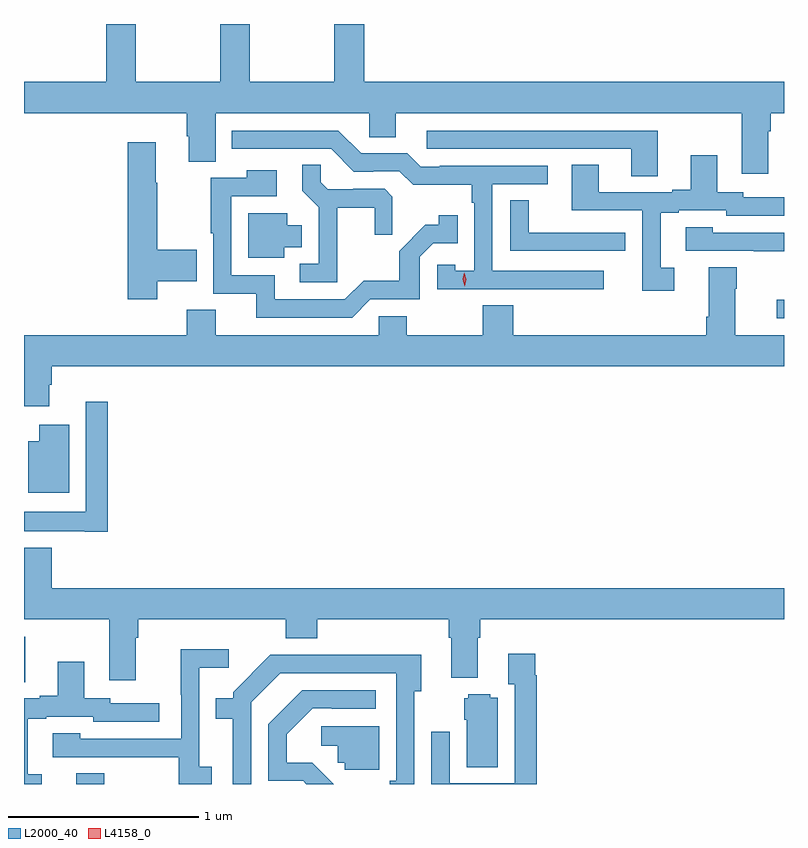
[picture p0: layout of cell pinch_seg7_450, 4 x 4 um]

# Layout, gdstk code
import gdstk
lib = gdstk.Library(unit=1e-6, precision=1e-09)
def R(c, l, rs):  # rectangles x0, y0, x1, y1
    for r in rs: c.add(gdstk.rectangle(r[:2], r[2:], *l))
def P(c, l, *ps):  # polygons
    for p in ps: c.add(gdstk.Polygon(p, *l))
L2000_40 = (2000, 40)
L4158_0 = (4158, 0)

pinch_seg7_450 = lib.new_cell('pinch_seg7_450')
R(pinch_seg7_450, L2000_40, [(301.163,1054.361,301.311,1054.417), (300.889,1054.897,300.895,1055.136), (304.851,1056.813,304.889,1056.909)])
P(pinch_seg7_450, L2000_40, [(304.807,1057.796),(304.82,1057.796),(304.82,1057.892),(304.889,1057.892),(304.889,1058.056),(302.681,1058.056),(302.681,1058.361),(302.521,1058.361),(302.521,1058.056),(302.076,1058.056),(302.076,1058.361),(301.921,1058.361),(301.921,1058.056),(301.476,1058.056),(301.476,1058.361),(301.321,1058.361),(301.321,1058.056),(300.889,1058.056),(300.889,1057.892),(301.745,1057.892),(301.745,1057.77),(301.757,1057.77),(301.757,1057.636),(301.897,1057.636),(301.897,1057.892),(302.706,1057.892),(302.706,1057.765),(302.845,1057.765),(302.845,1057.892),(304.667,1057.892),(304.667,1057.572),(304.807,1057.572)],
  [(303.94,1057.062),(303.354,1057.062),(303.354,1057.518),(303.646,1057.518),(303.646,1057.614),(303.076,1057.614),(303.076,1057.611),(302.976,1057.611),(302.907,1057.68),(302.664,1057.68),(302.544,1057.8),(301.982,1057.8),(301.982,1057.704),(302.505,1057.704),(302.625,1057.584),(302.726,1057.584),(302.726,1057.587),(302.865,1057.587),(302.938,1057.514),(303.246,1057.514),(303.246,1057.421),(303.258,1057.421),(303.258,1057.063),(303.159,1057.063),(303.159,1057.095),(303.063,1057.095),(303.063,1056.966),(303.547,1056.966),(303.547,1056.964),(303.94,1056.964)],
  [(304.225,1057.8),(303.009,1057.8),(303.009,1057.704),(304.085,1057.704),(304.085,1057.561),(304.225,1057.561)],
  [(301.59,1057.007),(301.799,1057.007),(301.799,1057.173),(301.59,1057.173),(301.59,1057.525),(301.582,1057.525),(301.582,1057.738),(301.436,1057.738),(301.436,1056.912),(301.59,1056.912)],
  [(304.312,1057.077),(304.24,1057.077),(304.24,1057.368),(304.336,1057.368),(304.336,1057.38),(304.584,1057.38),(304.584,1057.353),(304.889,1057.353),(304.889,1057.449),(304.674,1057.449),(304.674,1057.476),(304.537,1057.476),(304.537,1057.669),(304.397,1057.669),(304.397,1057.489),(304.301,1057.489),(304.301,1057.476),(303.913,1057.476),(303.913,1057.619),(303.773,1057.619),(303.773,1057.38),(304.143,1057.38),(304.143,1056.957),(304.312,1056.957)],
  [(302.537,1057.394),(302.734,1057.394),(302.734,1057.251),(302.828,1057.251),(302.828,1057.453),(302.787,1057.494),(302.622,1057.494),(302.622,1057.491),(302.488,1057.491),(302.451,1057.528),(302.451,1057.619),(302.353,1057.619),(302.353,1057.483),(302.439,1057.397),(302.439,1057.098),(302.34,1057.098),(302.34,1057.002),(302.537,1057.002)],
  [(302.712,1056.912),(302.973,1056.912),(302.973,1057.137),(303.042,1057.206),(303.173,1057.206),(303.173,1057.354),(303.072,1057.354),(303.072,1057.304),(303.002,1057.304),(302.865,1057.166),(302.865,1057.011),(302.676,1057.011),(302.577,1056.912),(302.209,1056.912),(302.209,1057.038),(301.98,1057.038),(301.98,1057.455),(302.218,1057.455),(302.218,1057.591),(302.062,1057.591),(302.062,1057.551),(301.872,1057.551),(301.872,1057.261),(301.884,1057.261),(301.884,1056.942),(302.111,1056.942),(302.111,1056.816),(302.616,1056.816)],
  [(304.054,1057.262),(303.941,1057.262),(303.941,1057.263),(303.546,1057.263),(303.546,1057.433),(303.447,1057.433),(303.447,1057.167),(304.054,1057.167)],
  [(302.26,1057.187),(302.35,1057.187),(302.35,1057.303),(302.275,1057.303),(302.275,1057.366),(302.069,1057.366),(302.069,1057.13),(302.26,1057.13)],
  [(304.889,1057.263),(304.515,1057.263),(304.515,1057.291),(304.371,1057.291),(304.371,1057.167),(304.729,1057.167),(304.729,1057.165),(304.889,1057.165)],
  [(301.021,1056.462),(301.034,1056.462),(301.034,1056.56),(304.889,1056.56),(304.889,1056.724),(304.633,1056.724),(304.633,1056.968),(304.641,1056.968),(304.641,1057.081),(304.493,1057.081),(304.493,1056.82),(304.481,1056.82),(304.481,1056.724),(303.464,1056.724),(303.464,1056.881),(303.304,1056.881),(303.304,1056.724),(302.904,1056.724),(302.904,1056.822),(302.757,1056.822),(302.757,1056.724),(301.897,1056.724),(301.897,1056.857),(301.745,1056.857),(301.745,1056.724),(300.889,1056.724),(300.889,1056.348),(301.021,1056.348)],
  [(301.331,1056.373),(301.215,1056.373),(301.215,1055.794),(300.889,1055.794),(300.889,1055.69),(301.208,1055.69),(301.208,1055.688),(301.331,1055.688)],
  [(301.126,1056.253),(300.968,1056.253),(300.968,1056.166),(300.911,1056.166),(300.911,1055.894),(301.126,1055.894)],
  [(300.889,1055.605),(300.889,1055.228),(301.337,1055.228),(301.337,1054.908),(301.477,1054.908),(301.477,1055.132),(301.49,1055.132),(301.49,1055.228),(302.267,1055.228),(302.267,1055.129),(302.432,1055.129),(302.432,1055.228),(303.125,1055.228),(303.125,1055.132),(303.137,1055.132),(303.137,1054.919),(303.277,1054.919),(303.277,1055.132),(303.29,1055.132),(303.29,1055.228),(304.889,1055.228),(304.889,1055.392),(301.034,1055.392),(301.034,1055.605)],
  [(301.876,1054.452),(301.812,1054.452),(301.812,1054.973),(301.966,1054.973),(301.966,1055.071),(301.714,1055.071),(301.714,1054.832),(301.716,1054.832),(301.716,1054.599),(301.185,1054.599),(301.185,1054.627),(301.041,1054.627),(301.041,1054.503),(301.399,1054.503),(301.399,1054.501),(301.704,1054.501),(301.704,1054.361),(301.876,1054.361)],
  [(303.587,1054.934),(303.58,1054.934),(303.58,1055.047),(303.437,1055.047),(303.437,1054.886),(303.471,1054.886),(303.471,1054.365),(303.129,1054.365),(303.129,1054.636),(303.033,1054.636),(303.033,1054.361),(303.587,1054.361)],
  [(302.085,1054.791),(302.238,1054.944),(302.847,1054.944),(302.847,1054.378),(302.813,1054.378),(302.813,1054.361),(302.943,1054.361),(302.943,1054.85),(302.98,1054.85),(302.98,1055.042),(302.515,1055.042),(302.515,1055.04),(302.184,1055.04),(301.989,1054.845),(301.989,1054.813),(301.897,1054.813),(301.897,1054.704),(301.988,1054.704),(301.988,1054.361),(302.085,1054.361)],
  [(300.982,1054.413),(300.91,1054.413),(300.91,1054.704),(301.006,1054.704),(301.006,1054.716),(301.254,1054.716),(301.254,1054.689),(301.6,1054.689),(301.6,1054.785),(301.344,1054.785),(301.344,1054.812),(301.207,1054.812),(301.207,1055.005),(301.067,1055.005),(301.067,1054.825),(300.971,1054.825),(300.971,1054.812),(300.889,1054.812),(300.889,1054.361),(300.982,1054.361)],
  [(302.405,1054.474),(302.272,1054.474),(302.272,1054.624),(302.409,1054.761),(302.509,1054.761),(302.509,1054.758),(302.74,1054.758),(302.74,1054.854),(302.354,1054.854),(302.175,1054.675),(302.175,1054.377),(302.358,1054.377),(302.374,1054.361),(302.518,1054.361)],
  [(303.382,1054.816),(303.342,1054.816),(303.342,1054.834),(303.228,1054.834),(303.228,1054.812),(303.206,1054.812),(303.206,1054.698),(303.218,1054.698),(303.218,1054.45),(303.382,1054.45)],
  [(302.758,1054.665),(302.454,1054.665),(302.454,1054.562),(302.541,1054.562),(302.541,1054.473),(302.577,1054.473),(302.577,1054.437),(302.758,1054.437)])
P(pinch_seg7_450, L4158_0, [(303.208,1056.981),(303.208,1056.981),(303.197,1057.017),(303.205,1057.053),(303.206,1057.053),(303.206,1057.053),(303.217,1057.018),(303.208,1056.981)])

lib.write_gds('pinch_seg7_450.gds')
